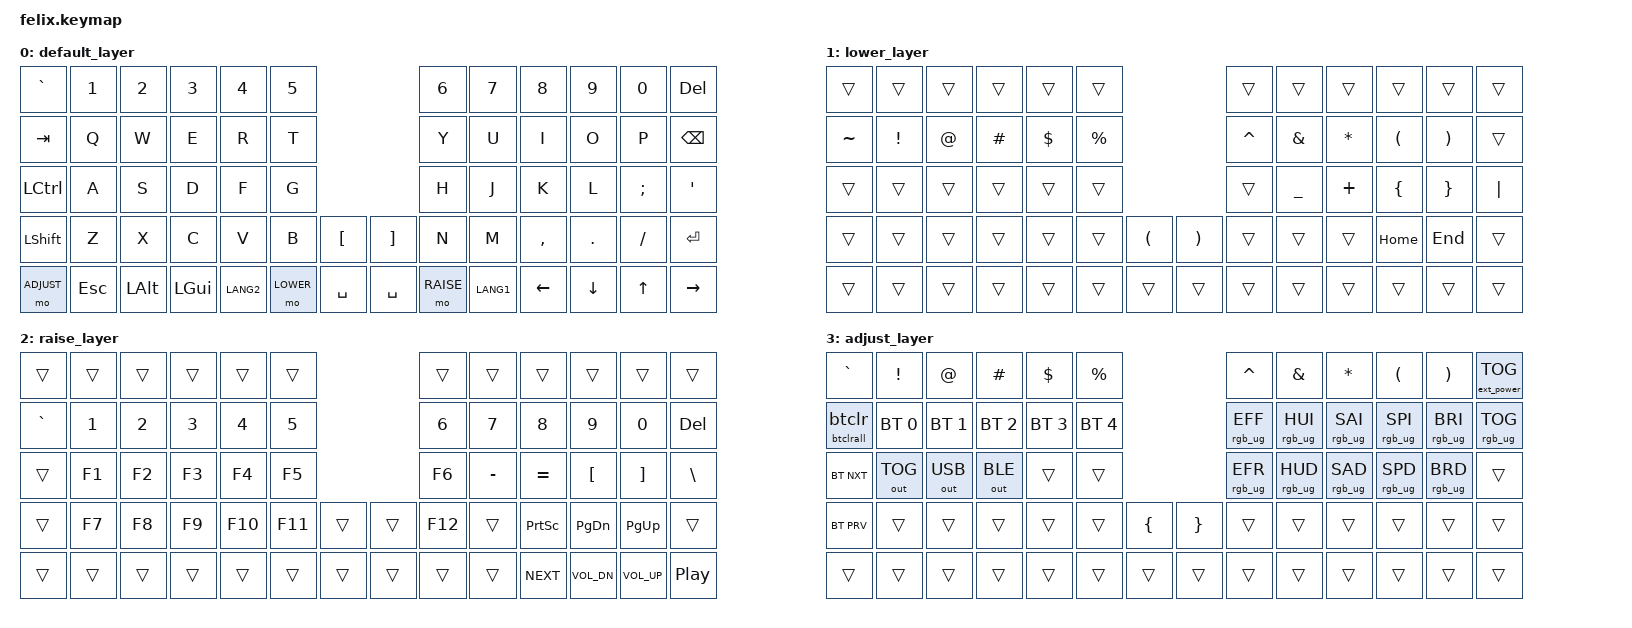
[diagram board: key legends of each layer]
/*
 * Copyright (c) 2020 The ZMK Contributors
 *
 * SPDX-License-Identifier: MIT
 */

#include <behaviors.dtsi>
#include <dt-bindings/zmk/keys.h>
#include <dt-bindings/zmk/bt.h>
#include <dt-bindings/zmk/rgb.h>
#include <dt-bindings/zmk/ext_power.h>
#include <dt-bindings/zmk/outputs.h>

#define DEFAULT 0
#define LOWER  1
#define RAISE  2
#define ADJUST 3

/* NOTE: At the time of the creation of this keymap, there are no specified codes for 'eisuu' and 'kana' input in ZMK.
However, 'LANG1' and 'LANG2' are fully-functioning candidates for 'kana' and 'eisuu' input respectively.
As such, those are in use within the default layer at this time.*/

&lt {
    tapping-term-ms = <220>;
    quick-tap-ms = <220>;
    flavor = "tap-preferred";
    require-prior-idle-ms = <150>;
};

&mt {
    tapping-term-ms = <220>;
    quick-tap-ms = <220>;
    flavor = "tap-preferred";
    require-prior-idle-ms = <150>;
};

&sk {
    release-after-ms = <900>;
    quick-release;
};

&sl { 
	ignore-modifiers;
	release-after-ms = <2000>;
};

/ {
    behaviors {
        btclr_ht: bluetooth_clear_hold_tap {
            compatible = "zmk,behavior-hold-tap";
            display-name = "Bluetooth Clear Hold-Tap";
            bindings = <&btclrall>, <&btclr>;

            #binding-cells = <2>;
            tapping-term-ms = <5000>;
            flavor = "tap-preferred";
        };
	};

    macros {
        btclr: bluetooth_clear {
            compatible = "zmk,behavior-macro";
            #binding-cells = <0>;
            bindings = <&macro_tap>, <&bt BT_CLR>;
        };

        btclrall: bluetooth_clear_all {
            compatible = "zmk,behavior-macro";
            #binding-cells = <0>;
            bindings = <&macro_tap>, <&bt BT_CLR_ALL>;
        };
    };

	keymap {
    	compatible = "zmk,keymap";

		default_layer {
 // ---------------------------------------------------------------------------------------------------------------------------------
 // | GRAVE  |   1    |   2    |   3    |   4    |   5    |                                      |   6    |   7    |   8    |   9    |   0    |  DEL   |
 // |  TAB   |   Q    |   W    |   E    |   R    |   T    |                                      |   Y    |   U    |   I    |   O    |   P    |  BSPC  |
 // |  CTRL  |   A    |   S    |   D    |   F    |   G    |                                      |   H    |   J    |   K    |   L    |   ;    |   '    |
 // |  SHIFT |   Z    |   X    |   C    |   V    |   B    |  LBKT  |                    |  RBKT  |   N    |   M    |   ,    |   .    |   /    |  RET   |
 // | ADJUST |  ESC   |  ALT   |  LGUI  | EISUU  | LOWER  | SPACE  |                    |  SPACE | RAISE  |  KANA  |  LEFT  |  DOWN  |  UP    |  RIGHT |
			bindings = <
&kp GRAVE  &kp N1  &kp N2   &kp N3   &kp N4    &kp N5                               &kp N6    &kp N7    &kp N8    &kp N9     &kp N0    &kp DEL
&kp TAB    &kp Q   &kp W    &kp E    &kp R     &kp T                                &kp Y     &kp U     &kp I     &kp O      &kp P     &kp BSPC
&kp LCTRL  &kp A   &kp S    &kp D    &kp F     &kp G                                &kp H     &kp J     &kp K     &kp L      &kp SEMI  &kp SQT
&kp LSHFT  &kp Z   &kp X    &kp C    &kp V     &kp B     &kp LBKT         &kp RBKT  &kp N     &kp M     &kp COMMA &kp PERIOD &kp SLASH &kp RET
&mo ADJUST &kp ESC &kp LALT &kp LGUI &kp LANG2 &mo LOWER &kp SPACE        &kp SPACE &mo RAISE &kp LANG1 &kp LEFT  &kp DOWN   &kp UP    &kp RIGHT
            >;
		};

		lower_layer {
 // ---------------------------------------------------------------------------------------------------------------------------------
 // |      |      |      |      |      |      |                                  |      |      |      |      |      |      |
 // |  ~   |  !   |  @   |  #   |  $   |  %   |                                  |  ^   |  &   |  *   |  (   |  )   |      |
 // |      |      |      |      |      |      |                                  |      |  _   |  +   |  {   |  }   | PIPE |
 // |      |      |      |      |      |      |  (   |                    |  )   |      |      |      | HOME | END  |      |
 // |      |      |      |      |      |      |      |                    |      |      |      |      |      |      |      |
			bindings = <
&trans    &trans   &trans &trans   &trans   &trans                             &trans    &trans    &trans    &trans   &trans   &trans
&kp TILDE &kp EXCL &kp AT &kp HASH &kp DLLR &kp PRCNT                          &kp CARET &kp AMPS  &kp ASTRK &kp LPAR &kp RPAR &trans
&trans    &trans   &trans &trans   &trans   &trans                             &trans    &kp UNDER &kp PLUS  &kp LBRC &kp RBRC &kp PIPE
&trans    &trans   &trans &trans   &trans   &trans    &kp LPAR        &kp RPAR &trans    &trans    &trans    &kp HOME &kp END  &trans
&trans    &trans   &trans &trans   &trans   &trans    &trans          &trans   &trans    &trans    &trans    &trans   &trans   &trans
			>;
		};

		raise_layer {
 // ---------------------------------------------------------------------------------------------------------------------------------
 // |       |       |       |       |       |       |                                    |       |       |       |       |       |       |
 // |   `   |   1   |   2   |   3   |   4   |   5   |                                    |   6   |   7   |   8   |   9   |   0   |  DEL  |
 // |       |  F1   |  F2   |  F3   |  F4   |  F5   |                                    |  F6   |   -   |   =   |   [   |   ]   |   \   |
 // |       |  F7   |  F8   |  F9   |  F10  |  F11  |       |                    |       |  F12  |       | PSCRN | PG_DN | PG_UP |       |
 // |       |       |       |       |       |       |       |                    |       |       |       | NEXT  | VOL-  | VOL+  | PLAY  |
			bindings = <
&trans    &trans &trans &trans &trans  &trans                       &trans  &trans    &trans     &trans       &trans       &trans
&kp GRAVE &kp N1 &kp N2 &kp N3 &kp N4  &kp N5                       &kp N6  &kp N7    &kp N8     &kp N9       &kp N0       &kp DEL
&trans    &kp F1 &kp F2 &kp F3 &kp F4  &kp F5                       &kp F6  &kp MINUS &kp EQUAL  &kp LBKT     &kp RBKT     &kp BSLH
&trans    &kp F7 &kp F8 &kp F9 &kp F10 &kp F11 &trans        &trans &kp F12 &trans    &kp PSCRN  &kp PG_DN    &kp PG_UP    &trans
&trans    &trans &trans &trans &trans  &trans  &trans        &trans &trans  &trans    &kp C_NEXT &kp C_VOL_DN &kp C_VOL_UP &kp C_PP
			>;
		};

		adjust_layer {
 // ---------------------------------------------------------------------------------------------------------------------------------
 // |    `     |    !     |    @     |    #     |    $     |    %     |                                          |    ^     |    &     |    *     |    (     |    )     |  EP TOG  |
 // |  BT CLR  | BT SEL0  | BT SEL1  | BT SEL2  | BGT SEL3 | BT SEL4  |                                          | RGB EFF+ | RGB HUE+ | RGB SAT+ | RGB SPD+ | RGB BRI+ | RGB TOG  |
 // |  BT NXT  | OUT TOG  | OUT USB  | OUT BLE  |          |          |                                          | RGB EFF- | RGB HUE- | RGB SAT- | RGB SPD- | RGB BRI- |          |
 // |  BT PRV  |          |          |          |          |          |    {     |                    |    }     |          |          |          |          |          |          |
 // |          |          |          |          |          |          |          |                    |          |          |          |          |          |          |          |
			bindings = <
&kp GRAVE     &kp EXCL     &kp AT       &kp HASH     &kp DLLR     &kp PRCNT                             &kp CARET       &kp AMPS        &kp ASTRK       &kp LPAR        &kp RPAR        &ext_power EP_TOG
&btclr_ht 0 0 &bt BT_SEL 0 &bt BT_SEL 1 &bt BT_SEL 2 &bt BT_SEL 3 &bt BT_SEL 4                          &rgb_ug RGB_EFF &rgb_ug RGB_HUI &rgb_ug RGB_SAI &rgb_ug RGB_SPI &rgb_ug RGB_BRI &rgb_ug RGB_TOG
&bt BT_NXT    &out OUT_TOG &out OUT_USB &out OUT_BLE &trans       &trans                                &rgb_ug RGB_EFR &rgb_ug RGB_HUD &rgb_ug RGB_SAD &rgb_ug RGB_SPD &rgb_ug RGB_BRD &trans
&bt BT_PRV    &trans       &trans       &trans       &trans       &trans       &kp LBRC        &kp RBRC &trans          &trans          &trans          &trans          &trans          &trans
&trans        &trans       &trans       &trans       &trans       &trans       &trans          &trans   &trans          &trans          &trans          &trans          &trans          &trans
			>;
		};
	};

};
